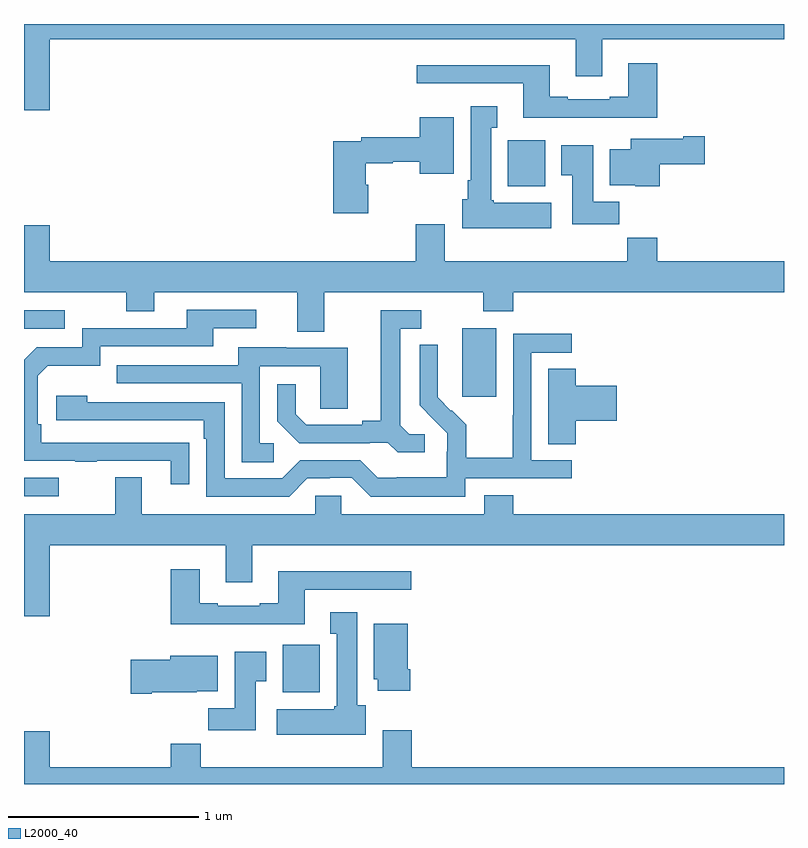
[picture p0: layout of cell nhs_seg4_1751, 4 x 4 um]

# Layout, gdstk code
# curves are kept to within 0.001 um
import gdstk
lib = gdstk.Library(unit=1e-6, precision=1e-09)
def R(c, l, rs):  # rectangles x0, y0, x1, y1
    for r in rs: c.add(gdstk.rectangle(r[:2], r[2:], *l))
def P(c, l, *ps):  # polygons
    for p in ps: c.add(gdstk.Polygon(p, *l))
L2000_40 = (2000, 40)

nhs_seg4_1751 = lib.new_cell('nhs_seg4_1751')
R(nhs_seg4_1751, L2000_40, [(202.361,793.382,202.557,793.633), (201,794.415,201.184,794.511), (203.306,794.937,203.485,795.298), (201,795.297,201.214,795.393), (203.546,796.046,203.743,796.288)])
P(nhs_seg4_1751, L2000_40, [(201.136,796.82),(203.903,796.82),(203.903,796.626),(204.043,796.626),(204.043,796.82),(205,796.82),(205,796.9),(201,796.9),(201,796.446),(201.136,796.446)],
  [(204.332,796.693),(204.179,796.693),(204.179,796.516),(204.083,796.516),(204.083,796.503),(203.863,796.503),(203.863,796.516),(203.767,796.516),(203.767,796.684),(203.067,796.684),(203.067,796.587),(203.627,796.587),(203.627,796.406),(204.332,796.406)],
  [(203.776,795.958),(203.472,795.958),(203.472,795.972),(203.458,795.972),(203.458,796.355),(203.491,796.355),(203.491,796.468),(203.351,796.468),(203.351,796.078),(203.336,796.078),(203.336,795.978),(203.306,795.978),(203.306,795.824),(203.776,795.824)],
  [(202.811,796.053),(202.798,796.053),(202.798,796.168),(202.941,796.168),(202.941,796.176),(203.084,796.176),(203.084,796.112),(203.263,796.112),(203.263,796.408),(203.084,796.408),(203.084,796.304),(202.774,796.304),(202.774,796.284),(202.628,796.284),(202.628,795.903),(202.811,795.903)],
  [(204.347,796.163),(204.583,796.163),(204.583,796.31),(204.47,796.31),(204.47,796.297),(204.194,796.297),(204.194,796.24),(204.083,796.24),(204.083,796.052),(204.216,796.052),(204.216,796.046),(204.347,796.046)],
  [(204.134,795.964),(203.995,795.964),(203.995,796.261),(203.828,796.261),(203.828,796.105),(203.885,796.105),(203.885,795.846),(204.134,795.846)],
  [(204.175,795.776),(204.175,795.652),(203.215,795.652),(203.215,795.847),(203.063,795.847),(203.063,795.652),(201.136,795.652),(201.136,795.841),(201,795.841),(201,795.488),(201.538,795.488),(201.538,795.389),(201.685,795.389),(201.685,795.488),(202.439,795.488),(202.439,795.28),(202.579,795.28),(202.579,795.488),(203.416,795.488),(203.416,795.389),(203.576,795.389),(203.576,795.488),(205,795.488),(205,795.652),(204.332,795.652),(204.332,795.776)],
  [(201.869,794.696),(201.092,794.697),(201.092,794.794),(201.072,794.794),(201.072,795.048),(201.125,795.101),(201.402,795.101),(201.402,795.204),(201.997,795.204),(201.997,795.3),(202.222,795.3),(202.222,795.396),(201.857,795.396),(201.857,795.3),(201.306,795.3),(201.306,795.198),(201.066,795.198),(201,795.132),(201,794.601),(201.271,794.601),(201.271,794.596),(201.383,794.596),(201.383,794.601),(201.773,794.601),(201.773,794.478),(201.869,794.478)],
  [(203.11,794.742),(203.028,794.742),(202.981,794.789),(202.981,795.297),(203.092,795.297),(203.092,795.393),(202.877,795.393),(202.877,794.813),(202.781,794.813),(202.781,794.79),(202.486,794.79),(202.429,794.847),(202.429,795.004),(202.332,795.004),(202.332,794.81),(202.448,794.694),(202.82,794.694),(202.82,794.697),(202.914,794.697),(202.966,794.645),(203.11,794.645)],
  [(203.322,794.508),(203.884,794.508),(203.884,794.604),(203.67,794.604),(203.67,795.171),(203.884,795.171),(203.884,795.27),(203.574,795.27),(203.574,794.84),(203.572,794.84),(203.572,794.617),(203.327,794.617),(203.327,794.791),(203.25,794.868),(203.247,794.865),(203.177,794.936),(203.178,795.212),(203.082,795.212),(203.082,794.894),(203.228,794.746),(203.228,794.649),(203.226,794.649),(203.226,794.515),(202.963,794.515),(202.963,794.511),(202.863,794.511),(202.77,794.604),(202.455,794.604),(202.359,794.508),(202.056,794.508),(202.056,794.91),(201.332,794.91),(201.332,794.944),(201.171,794.944),(201.171,794.814),(201.947,794.814),(201.947,794.717),(201.96,794.717),(201.96,794.412),(202.395,794.412),(202.491,794.508),(202.61,794.508),(202.61,794.511),(202.725,794.511),(202.825,794.411),(203.322,794.411)],
  [(202.315,794.694),(202.242,794.694),(202.242,795.099),(202.56,795.099),(202.56,794.875),(202.705,794.875),(202.705,795.195),(202.381,795.195),(202.381,795.199),(202.127,795.199),(202.127,795.105),(201.487,795.105),(201.487,795.009),(202.146,795.009),(202.146,794.593),(202.315,794.593)],
  [(203.903,794.813),(204.121,794.813),(204.121,794.996),(203.903,794.996),(203.903,795.086),(203.759,795.086),(203.759,794.689),(203.903,794.689)],
  [(201.619,794.515),(201.479,794.515),(201.479,794.32),(201,794.32),(201,793.782),(201.136,793.782),(201.136,794.156),(202.061,794.156),(202.061,793.962),(202.201,793.962),(202.201,794.156),(205,794.156),(205,794.32),(203.576,794.32),(203.576,794.419),(203.423,794.419),(203.423,794.32),(202.671,794.32),(202.671,794.418),(202.533,794.418),(202.533,794.32),(201.619,794.32)],
  [(202.477,793.923),(203.038,793.923),(203.038,794.02),(202.337,794.02),(202.337,793.852),(202.241,793.852),(202.241,793.839),(202.021,793.839),(202.021,793.852),(201.925,793.852),(201.925,794.029),(201.773,794.029),(201.773,793.742),(202.477,793.742)],
  [(202.798,793.314),(202.753,793.314),(202.753,793.804),(202.613,793.804),(202.613,793.691),(202.646,793.691),(202.646,793.308),(202.633,793.308),(202.633,793.294),(202.329,793.294),(202.329,793.16),(202.798,793.16)],
  [(203.033,793.504),(203.02,793.504),(203.02,793.744),(202.841,793.744),(202.841,793.452),(202.862,793.452),(202.862,793.392),(203.033,793.392)],
  [(202.219,793.441),(202.276,793.441),(202.276,793.597),(202.109,793.597),(202.109,793.3),(201.97,793.3),(201.97,793.182),(202.219,793.182)],
  [(201.673,793.382),(201.909,793.382),(201.909,793.388),(202.021,793.388),(202.021,793.576),(201.77,793.576),(201.77,793.553),(201.561,793.553),(201.561,793.375),(201.673,793.375)],
  [(205,792.988),(203.042,792.988),(203.042,793.183),(202.889,793.183),(202.889,792.988),(201.929,792.988),(201.929,793.112),(201.773,793.112),(201.773,792.988),(201.136,792.988),(201.136,793.177),(201,793.177),(201,792.9),(205,792.9)])

lib.write_gds('nhs_seg4_1751.gds')
